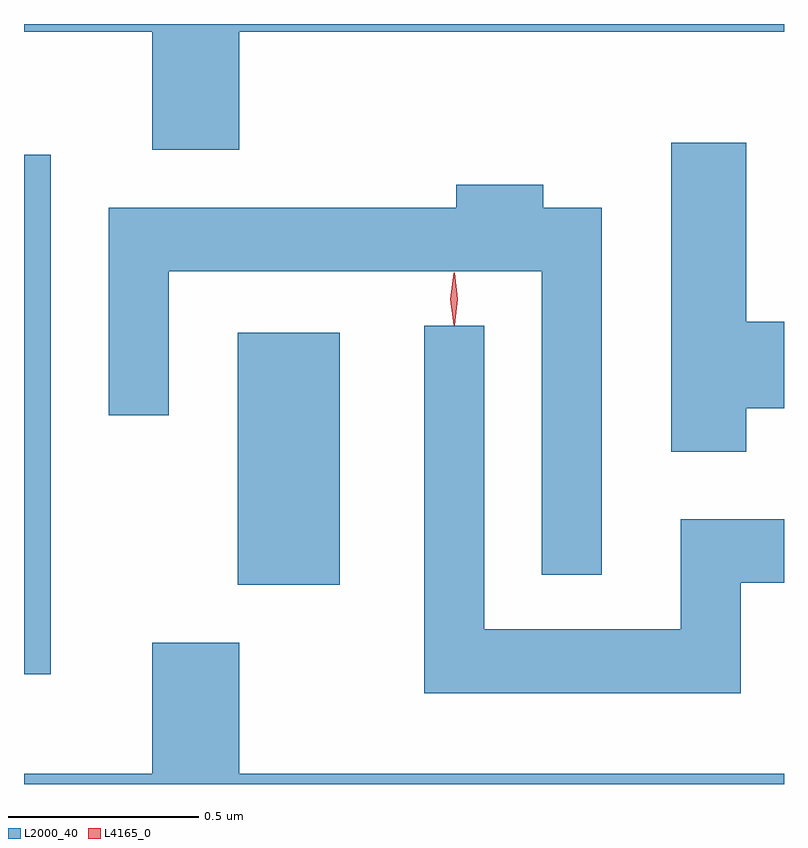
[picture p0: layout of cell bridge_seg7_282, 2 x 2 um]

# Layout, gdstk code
import gdstk
lib = gdstk.Library(unit=1e-6, precision=1e-09)
def R(c, l, rs):  # rectangles x0, y0, x1, y1
    for r in rs: c.add(gdstk.rectangle(r[:2], r[2:], *l))
def P(c, l, *ps):  # polygons
    for p in ps: c.add(gdstk.Polygon(p, *l))
L2000_40 = (2000, 40)
L4165_0 = (4165, 0)

bridge_seg7_282 = lib.new_cell('bridge_seg7_282')
R(bridge_seg7_282, L2000_40, [(1256.993,1794.766,1257.064,1796.133), (1257.556,1795.001,1257.824,1795.664)])
P(bridge_seg7_282, L2000_40, [(1257.559,1796.456),(1258.993,1796.456),(1258.993,1796.477),(1256.993,1796.477),(1256.993,1796.456),(1257.331,1796.456),(1257.331,1796.146),(1257.559,1796.146)],
  [(1258.894,1795.466),(1258.993,1795.466),(1258.993,1795.694),(1258.894,1795.694),(1258.894,1796.164),(1258.696,1796.164),(1258.696,1795.351),(1258.894,1795.351)],
  [(1258.514,1795.994),(1258.359,1795.994),(1258.359,1796.054),(1258.131,1796.054),(1258.131,1795.994),(1257.216,1795.994),(1257.216,1795.448),(1257.374,1795.448),(1257.374,1795.826),(1258.356,1795.826),(1258.356,1795.028),(1258.514,1795.028)],
  [(1258.879,1795.006),(1258.993,1795.006),(1258.993,1795.174),(1258.721,1795.174),(1258.721,1794.884),(1258.204,1794.884),(1258.204,1795.683),(1258.046,1795.683),(1258.046,1794.716),(1258.879,1794.716)],
  [(1258.993,1794.504),(1257.559,1794.504),(1257.559,1794.849),(1257.331,1794.849),(1257.331,1794.504),(1256.993,1794.504),(1256.993,1794.477),(1258.993,1794.477)])
P(bridge_seg7_282, L4165_0, [(1258.124,1795.684),(1258.115,1795.753),(1258.124,1795.822),(1258.125,1795.823),(1258.126,1795.822),(1258.135,1795.753),(1258.126,1795.684),(1258.125,1795.684)])

lib.write_gds('bridge_seg7_282.gds')
